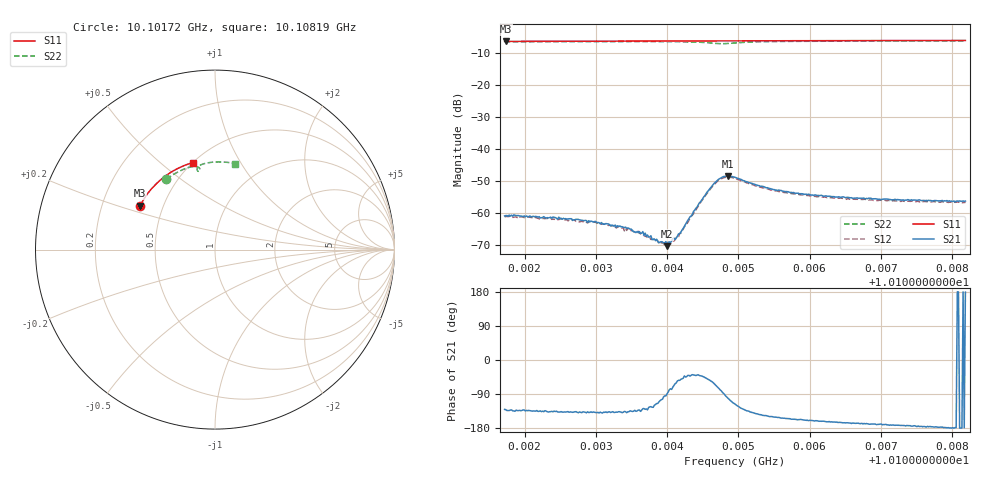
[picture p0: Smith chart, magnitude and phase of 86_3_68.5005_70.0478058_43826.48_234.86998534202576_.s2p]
#  HZ  S  RI  R  50.00
! Rohde & Schwarz Vector Network Analyzer
! Rohde-Schwarz,ZNB20-2Port,1311601062101988,3.16
! Created: UTC 3/20/2024, 5:07:36 PM
! freq[Hz]  re:S11  im:S11  re:S21  im:S21  re:S12  im:S12  re:S22  im:S22
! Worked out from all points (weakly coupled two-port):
!   401 points, 10.10172 GHz to 10.10819 GHz, reference 50 ohm
!   highest |S21| = -48.36 dB at 10.10486 GHz (marker M1); lowest = -70.3 dB at 10.104 GHz (marker M2)
!   lowest |S11| = -6.3 dB at 10.10174 GHz (marker M3), VSWR 2.88, Z = 18.5 + j11.8 ohm
!   |S11| at or under -10 dB: nowhere
!   |S22| runs from -7.0 to -6.2 dB; largest |S21 - S12| = 0.00041
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1.010172e10  -0.4188 0.243  -0.000591 -0.000694  -0.000543 -0.000686  -0.2704 0.3922
1.0101736e10  -0.4182 0.2439  -0.000606 -0.000694  -0.000529 -0.000725  -0.2697 0.3928
1.0102528e10  -0.3939 0.2856  -0.000595 -0.000548  -0.00055 -0.000595  -0.2267 0.4216
1.0102803e10  -0.3847 0.2994  -0.000588 -0.000512  -0.000495 -0.000567  -0.211 0.4306
1.0102965e10  -0.3789 0.3073  -0.000538 -0.000498  -0.000497 -0.000534  -0.2015 0.4355
1.0103434e10  -0.3613 0.3298  -0.000438 -0.000382  -0.000367 -0.000397  -0.1726 0.4485
1.0103547e10  -0.3569 0.3351  -0.000351 -0.00038  -0.000326 -0.000387  -0.1653 0.4515
1.0103628e10  -0.3536 0.3387  -0.000349 -0.000341  -0.000305 -0.00037  -0.16 0.4534
1.0103886e10  -0.3432 0.3503  -0.000121 -0.000326  -9.88e-05 -0.000319  -0.1423 0.4591
1.0103999e10  -0.3386 0.3554  2.86e-06 -0.000307  4.43e-05 -0.000324  -0.1341 0.4613
1.010408e10  -0.335 0.3589  0.000127 -0.00038  0.000153 -0.000335  -0.1278 0.4624
1.0104145e10  -0.3323 0.3618  0.000251 -0.000361  0.000243 -0.000342  -0.1226 0.463
1.0104484e10  -0.3174 0.376  0.00119 -0.00108  0.00124 -0.000947  -0.0927 0.4591
1.0104646e10  -0.3101 0.3824  0.00142 -0.00243  0.00154 -0.00223  -0.0831 0.4459
1.0104759e10  -0.3051 0.3868  0.000555 -0.00353  0.00082 -0.00339  -0.0882 0.4369
1.0104856e10  -0.3007 0.3907  -0.000751 -0.00374  -0.000398 -0.00366  -0.0968 0.4387
1.0104953e10  -0.2962 0.3944  -0.00162 -0.00328  -0.00131 -0.00326  -0.1 0.4475
1.010526e10  -0.2817 0.4059  -0.00217 -0.0017  -0.00193 -0.00181  -0.0835 0.4694
1.0105503e10  -0.2699 0.4147  -0.00205 -0.00115  -0.00187 -0.00128  -0.0656 0.4773
1.0106036e10  -0.2428 0.4326  -0.00182 -0.000661  -0.00168 -0.000755  -0.0281 0.4854
1.0107119e10  -0.1849 0.4629  -0.00163 -0.00022  -0.00154 -0.000382  0.0436 0.488
1.0108186e10  -0.1242 0.4848  -0.00155 2.47e-05  -0.00145 -0.00016  0.1118 0.4795
